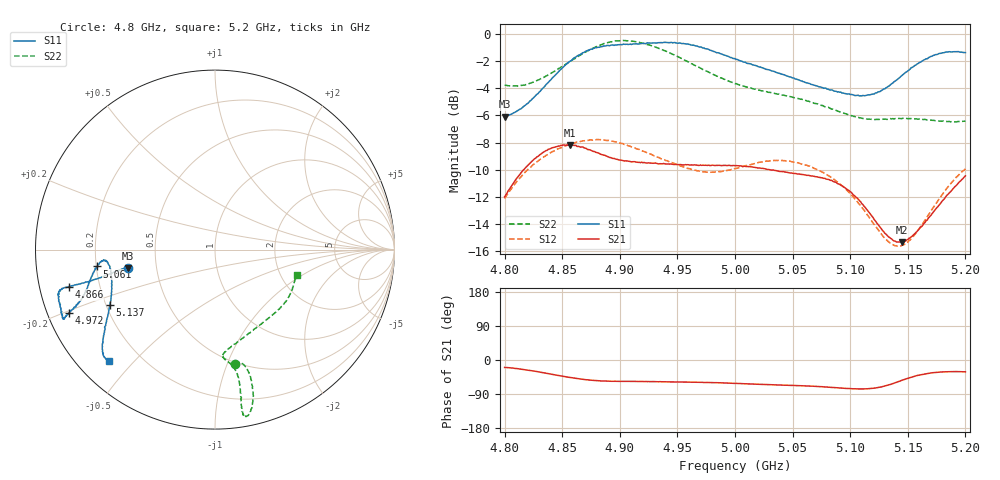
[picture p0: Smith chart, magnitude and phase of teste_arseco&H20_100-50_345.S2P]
! Network Analyzer HP8722D
! Hewlett-Packard
! Data name: Linha & Wilkinson
! Saver's name: Rodrigo Anjos
! Comments: Teste da utilização de aquisição
! continua pelo VNA HP8722D
! Time and date: 6/5/2025 15:26
!  Frequency  S11  S21  S12  S22
# HZ  S  MA R 50
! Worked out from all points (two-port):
!   401 points, 4.8 GHz to 5.2 GHz, reference 50 ohm
!   highest |S21| = -8.16 dB at 4.857 GHz (marker M1); lowest = -15.3 dB at 5.145 GHz (marker M2)
!   |S21| within 3 dB of the highest: 4.806 GHz to 5.093 GHz (286.5 MHz wide, 5.79 % of centre); 5.19191 GHz to end of sweep
!   lowest |S11| = -6.1 dB at 4.8 GHz (marker M3), VSWR 2.97, Z = 17 - j4.61 ohm
!   |S11| at or under -10 dB: nowhere
!   |S22| runs from -6.5 to -0.5 dB; largest |S21 - S12| = 0.62
!   S11 on the Smith chart (normalised r, x): 4.8 GHz: 0.34, -0.09; 4.866 GHz: 0.09, -0.12; 4.972 GHz: 0.06, -0.21; 5.061 GHz: 0.20, -0.07; 5.137 GHz: 0.22, -0.24; 5.2 GHz: 0.09, -0.43
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4.8e9  0.4964 -168.1  0.2518 -19.6  0.2482 -140.8  0.6486 -80.3
4.828e9  0.5999 -167.0  0.3528 -30.5  0.3384 -144.7  0.6739 -75.4
4.857e9  0.7948 -165.8  0.3907 -46.2  0.3931 -150.2  0.7926 -74.7
4.866e9  0.8415 -165.7  0.3833 -50.2  0.4025 -151.7  0.8369 -75.3
4.867e9  0.8482 -165.8  0.3838 -50.8  0.4032 -151.9  0.8429 -75.3
4.879e9  0.8911 -165.5  0.3671 -54.1  0.4081 -154.0  0.8956 -76.6
4.901e9  0.9138 -162.3  0.3436 -56.2  0.3961 -156.7  0.9442 -79.2
4.934e9  0.9287 -156.2  0.3327 -57.5  0.351 -155.6  0.8829 -80.4
4.953e9  0.9246 -155.4  0.3307 -58.0  0.3262 -152.0  0.8144 -79.9
4.972e9  0.8878 -156.5  0.3292 -59.0  0.3112 -146.1  0.7403 -79.6
5e9  0.8111 -158.9  0.3275 -61.8  0.3201 -137.1  0.6568 -81.2
5.036e9  0.7213 -165.5  0.3138 -65.9  0.3426 -134.3  0.6027 -85.7
5.061e9  0.6628 -171.8  0.303 -68.3  0.3295 -136.2  0.5703 -83.9
5.067e9  0.6511 -173.1  0.3004 -69.0  0.3229 -136.7  0.5593 -82.6
5.088e9  0.6148 -174.3  0.2841 -73.1  0.2873 -138.5  0.5229 -74.4
5.103e9  0.596 -171.5  0.2555 -76.0  0.2503 -138.5  0.4973 -65.2
5.117e9  0.5966 -164.8  0.2187 -75.5  0.2099 -135.1  0.4859 -55.2
5.134e9  0.6447 -154.1  0.1786 -65.3  0.171 -120.7  0.4865 -43.3
5.137e9  0.6598 -152.3  0.1744 -62.4  0.1679 -117.1  0.4882 -41.5
5.145e9  0.7035 -148.1  0.1714 -53.3  0.1669 -106.2  0.4884 -36.9
5.172e9  0.833 -139.0  0.2207 -33.5  0.2293 -81.1  0.4811 -24.6
5.2e9  0.8538 -133.5  0.3006 -31.3  0.3189 -76.8  0.4774 -17.4
